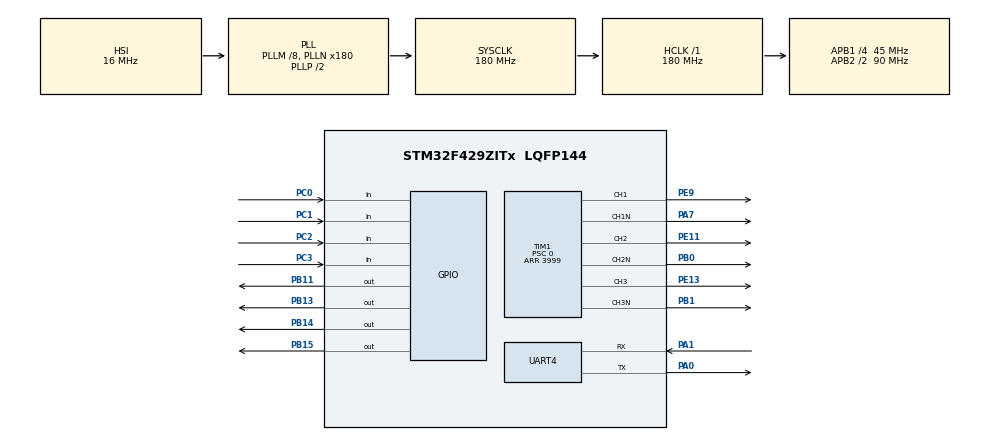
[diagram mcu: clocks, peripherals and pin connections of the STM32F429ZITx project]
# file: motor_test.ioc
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Mcu.Family=STM32F4
Mcu.Name=STM32F429ZITx
Mcu.Package=LQFP144
NVIC.PriorityGroup=NVIC_PRIORITYGROUP_4
PA0/WKUP.Mode=Asynchronous
PA0/WKUP.Signal=UART4_TX
PA1.Mode=Asynchronous
PA1.Signal=UART4_RX
PA7.GPIO_Speed=GPIO_SPEED_FREQ_VERY_HIGH
PA7.Mode=PWM Generation1 CH1 CH1N
PA7.Signal=TIM1_CH1N
PB0.GPIO_Speed=GPIO_SPEED_FREQ_VERY_HIGH
PB0.Mode=PWM Generation2 CH2 CH2N
PB0.Signal=TIM1_CH2N
PB1.GPIO_Speed=GPIO_SPEED_FREQ_VERY_HIGH
PB1.Mode=PWM Generation3 CH3 CH3N
PB1.Signal=TIM1_CH3N
PB11.Signal=GPIO_Output
PB13.Signal=GPIO_Output
PB14.Signal=GPIO_Output
PB15.Signal=GPIO_Output
PC0.Signal=GPIO_Input
PC1.Signal=GPIO_Input
PC2.Signal=GPIO_Input
PC3.GPIO_PuPd=GPIO_PULLDOWN
PC3.Signal=GPIO_Input
PE11.GPIO_Speed=GPIO_SPEED_FREQ_VERY_HIGH
PE11.Signal=S_TIM1_CH2
PE13.GPIO_Speed=GPIO_SPEED_FREQ_VERY_HIGH
PE13.Signal=S_TIM1_CH3
PE9.GPIO_Speed=GPIO_SPEED_FREQ_VERY_HIGH
PE9.Signal=S_TIM1_CH1
ProjectManager.HeapSize=0x200
ProjectManager.StackSize=0x400
ProjectManager.TargetToolchain=STM32CubeIDE
RCC.48MHZClocksFreq_Value=90000000
RCC.AHBFreq_Value=180000000
RCC.APB1CLKDivider=RCC_HCLK_DIV4
RCC.APB1Freq_Value=45000000
RCC.APB1TimFreq_Value=90000000
RCC.APB2CLKDivider=RCC_HCLK_DIV2
RCC.APB2Freq_Value=90000000
RCC.APB2TimFreq_Value=180000000
RCC.CortexFreq_Value=180000000
RCC.HCLKFreq_Value=180000000
RCC.HSE_VALUE=25000000
RCC.HSI_VALUE=16000000
RCC.LSE_VALUE=32768
RCC.PLLM=8
RCC.PLLN=180
RCC.SYSCLKFreq_VALUE=180000000
RCC.SYSCLKSource=RCC_SYSCLKSOURCE_PLLCLK
RCC.VCOOutputFreq_Value=360000000
SH.S_TIM1_CH1.0=TIM1_CH1,PWM Generation1 CH1 CH1N
SH.S_TIM1_CH2.0=TIM1_CH2,PWM Generation2 CH2 CH2N
SH.S_TIM1_CH3.0=TIM1_CH3,PWM Generation3 CH3 CH3N
TIM1.AutoReloadPreload=TIM_AUTORELOAD_PRELOAD_ENABLE
TIM1.Channel-PWM\ Generation1\ CH1\ CH1N=TIM_CHANNEL_1
TIM1.Channel-PWM\ Generation2\ CH2\ CH2N=TIM_CHANNEL_2
TIM1.Channel-PWM\ Generation3\ CH3\ CH3N=TIM_CHANNEL_3
TIM1.ClockDivision=TIM_CLOCKDIVISION_DIV1
TIM1.OCFastMode_PWM-PWM\ Generation1\ CH1\ CH1N=TIM_OCFAST_ENABLE
TIM1.OCFastMode_PWM-PWM\ Generation2\ CH2\ CH2N=TIM_OCFAST_ENABLE
TIM1.OCFastMode_PWM-PWM\ Generation3\ CH3\ CH3N=TIM_OCFAST_ENABLE
TIM1.Period=3999
TIM1.Prescaler=0
TIM1.Pulse-PWM\ Generation1\ CH1\ CH1N=399
TIM1.Pulse-PWM\ Generation2\ CH2\ CH2N=399
TIM1.Pulse-PWM\ Generation3\ CH3\ CH3N=399
TIM2.AutoReloadPreload=TIM_AUTORELOAD_PRELOAD_ENABLE
UART4.VirtualMode=Asynchronous
VP_TIM1_VS_ClockSourceINT.Mode=Internal
VP_TIM2_VS_ClockSourceINT.Mode=Internal
board=custom

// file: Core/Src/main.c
/* USER CODE BEGIN Header */
/**
 ******************************************************************************
 * @file           : main.c
 * @brief          : Main program body
 ******************************************************************************
 * @attention
 *
 * <h2><center>&copy; Copyright (c) 2021 STMicroelectronics.
 * All rights reserved.</center></h2>
 *
 * This software component is licensed by ST under BSD 3-Clause license,
 * the "License"; You may not use this file except in compliance with the
 * License. You may obtain a copy of the License at:
 *                        opensource.org/licenses/BSD-3-Clause
 *
 ******************************************************************************
 */
//
/* USER CODE END Header */
#include "main.h"
#include "motor.h"
static int SPEED = 4000;

TIM_HandleTypeDef htim1;
TIM_HandleTypeDef htim2;

UART_HandleTypeDef huart4;

void SystemClock_Config(void);
static void MX_GPIO_Init(void);
static void MX_TIM1_Init(void);
static void MX_UART4_Init(void);
static void MX_TIM2_Init(void);

int main(void) {

	/* MCU Configuration--------------------------------------------------------*/

	/* Reset of all peripherals, Initializes the Flash interface and the Systick. */
	HAL_Init();

	/* Configure the system clock */
	SystemClock_Config();

	/* Initialize all configured peripherals */
	MX_GPIO_Init();
	MX_TIM1_Init();
	MX_UART4_Init();
	MX_TIM2_Init();

	/* Infinite loop */
	/* USER CODE BEGIN WHILE */

	uint8_t state = 0;

//m oc pb14
//m pwm pb15
//o ac pb11
//en gate pb13
	HAL_GPIO_WritePin(GPIOB, GPIO_PIN_11, GPIO_PIN_SET);
	HAL_GPIO_WritePin(GPIOB, GPIO_PIN_13, GPIO_PIN_SET);
	HAL_GPIO_WritePin(GPIOB, GPIO_PIN_15, GPIO_PIN_RESET);
	HAL_GPIO_WritePin(GPIOB, GPIO_PIN_14, GPIO_PIN_RESET);

	uint8_t power = 0;
	state = GPIOC->IDR & 7;

	int yon = 0;

	char ch;
	int rpm_counter = 0;
	uint8_t ex_state = 0;
	int rpm;
	SPEED = 10000;
	float duty = 5;
	int minute_count = 0;
	while (1) {
		/* USER CODE END WHILE */
		power = motor_start_stop(power);

		state = motor_drive(ex_state, SPEED, duty);

		if (ex_state != state) {
			rpm_counter++;
			ex_state = state;
		}

		if (TIM2->CNT == 18000 - 1) {
			if (minute_count < 6)
				minute_count++;
			else {
				rpm = rpm_counter * 6 / 6;
				rpm_counter = 0;
				minute_count = 0;

				if (yon == 0) {
					duty = duty + 0.2;

					if (duty > 50) {
						yon = 1;
					}
				} else if (yon == 1) {
					duty = duty - 0.2;

					if (duty < 1.6) {
						yon = 0;
					}
				}

			}
		}
	}
}

void SystemClock_Config(void) {
	RCC_OscInitTypeDef RCC_OscInitStruct = { 0 };
	RCC_ClkInitTypeDef RCC_ClkInitStruct = { 0 };

	/** Configure the main internal regulator output voltage
	 */
	__HAL_RCC_PWR_CLK_ENABLE();
	__HAL_PWR_VOLTAGESCALING_CONFIG(PWR_REGULATOR_VOLTAGE_SCALE1);
	/** Initializes the RCC Oscillators according to the specified parameters
	 * in the RCC_OscInitTypeDef structure.
	 */
	RCC_OscInitStruct.OscillatorType = RCC_OSCILLATORTYPE_HSI;
	RCC_OscInitStruct.HSIState = RCC_HSI_ON;
	RCC_OscInitStruct.HSICalibrationValue = RCC_HSICALIBRATION_DEFAULT;
	RCC_OscInitStruct.PLL.PLLState = RCC_PLL_ON;
	RCC_OscInitStruct.PLL.PLLSource = RCC_PLLSOURCE_HSI;
	RCC_OscInitStruct.PLL.PLLM = 8;
	RCC_OscInitStruct.PLL.PLLN = 180;
	RCC_OscInitStruct.PLL.PLLP = RCC_PLLP_DIV2;
	RCC_OscInitStruct.PLL.PLLQ = 4;
	if (HAL_RCC_OscConfig(&RCC_OscInitStruct) != HAL_OK) {
		Error_Handler();
	}
	/** Activate the Over-Drive mode
	 */
	if (HAL_PWREx_EnableOverDrive() != HAL_OK) {
		Error_Handler();
	}
	/** Initializes the CPU, AHB and APB buses clocks
	 */
	RCC_ClkInitStruct.ClockType = RCC_CLOCKTYPE_HCLK | RCC_CLOCKTYPE_SYSCLK
			| RCC_CLOCKTYPE_PCLK1 | RCC_CLOCKTYPE_PCLK2;
	RCC_ClkInitStruct.SYSCLKSource = RCC_SYSCLKSOURCE_PLLCLK;
	RCC_ClkInitStruct.AHBCLKDivider = RCC_SYSCLK_DIV1;
	RCC_ClkInitStruct.APB1CLKDivider = RCC_HCLK_DIV4;
	RCC_ClkInitStruct.APB2CLKDivider = RCC_HCLK_DIV2;

	if (HAL_RCC_ClockConfig(&RCC_ClkInitStruct, FLASH_LATENCY_5) != HAL_OK) {
		Error_Handler();
	}
}

static void MX_TIM1_Init(void) {

	TIM_ClockConfigTypeDef sClockSourceConfig = { 0 };
	TIM_MasterConfigTypeDef sMasterConfig = { 0 };
	TIM_OC_InitTypeDef sConfigOC = { 0 };
	TIM_BreakDeadTimeConfigTypeDef sBreakDeadTimeConfig = { 0 };

	htim1.Instance = TIM1;
	htim1.Init.Prescaler = 0;
	htim1.Init.CounterMode = TIM_COUNTERMODE_UP;
	htim1.Init.Period = 3999;
	htim1.Init.ClockDivision = TIM_CLOCKDIVISION_DIV1;
	htim1.Init.RepetitionCounter = 0;
	htim1.Init.AutoReloadPreload = TIM_AUTORELOAD_PRELOAD_ENABLE;
	if (HAL_TIM_Base_Init(&htim1) != HAL_OK) {
		Error_Handler();
	}
	sClockSourceConfig.ClockSource = TIM_CLOCKSOURCE_INTERNAL;
	if (HAL_TIM_ConfigClockSource(&htim1, &sClockSourceConfig) != HAL_OK) {
		Error_Handler();
	}
	if (HAL_TIM_PWM_Init(&htim1) != HAL_OK) {
		Error_Handler();
	}
	sMasterConfig.MasterOutputTrigger = TIM_TRGO_RESET;
	sMasterConfig.MasterSlaveMode = TIM_MASTERSLAVEMODE_DISABLE;
	if (HAL_TIMEx_MasterConfigSynchronization(&htim1, &sMasterConfig)
			!= HAL_OK) {
		Error_Handler();
	}
	sConfigOC.OCMode = TIM_OCMODE_PWM1;
	sConfigOC.Pulse = 399;
	sConfigOC.OCPolarity = TIM_OCPOLARITY_HIGH;
	sConfigOC.OCNPolarity = TIM_OCNPOLARITY_HIGH;
	sConfigOC.OCFastMode = TIM_OCFAST_ENABLE;
	sConfigOC.OCIdleState = TIM_OCIDLESTATE_RESET;
	sConfigOC.OCNIdleState = TIM_OCNIDLESTATE_RESET;
	if (HAL_TIM_PWM_ConfigChannel(&htim1, &sConfigOC, TIM_CHANNEL_1)
			!= HAL_OK) {
		Error_Handler();
	}
	if (HAL_TIM_PWM_ConfigChannel(&htim1, &sConfigOC, TIM_CHANNEL_2)
			!= HAL_OK) {
		Error_Handler();
	}
	if (HAL_TIM_PWM_ConfigChannel(&htim1, &sConfigOC, TIM_CHANNEL_3)
			!= HAL_OK) {
		Error_Handler();
	}
	sBreakDeadTimeConfig.OffStateRunMode = TIM_OSSR_DISABLE;
	sBreakDeadTimeConfig.OffStateIDLEMode = TIM_OSSI_DISABLE;
	sBreakDeadTimeConfig.LockLevel = TIM_LOCKLEVEL_OFF;
	sBreakDeadTimeConfig.DeadTime = 0;
	sBreakDeadTimeConfig.BreakState = TIM_BREAK_DISABLE;
	sBreakDeadTimeConfig.BreakPolarity = TIM_BREAKPOLARITY_HIGH;
	sBreakDeadTimeConfig.AutomaticOutput = TIM_AUTOMATICOUTPUT_DISABLE;
	if (HAL_TIMEx_ConfigBreakDeadTime(&htim1, &sBreakDeadTimeConfig)
			!= HAL_OK) {
		Error_Handler();
	}
	HAL_TIM_MspPostInit(&htim1);

}

static void MX_TIM2_Init(void) {

	TIM_ClockConfigTypeDef sClockSourceConfig = { 0 };
	TIM_MasterConfigTypeDef sMasterConfig = { 0 };

	htim2.Instance = TIM2;
	htim2.Init.Prescaler = 0;
	htim2.Init.CounterMode = TIM_COUNTERMODE_UP;
	htim2.Init.Period = 18000;
	htim2.Init.ClockDivision = TIM_CLOCKDIVISION_DIV1;
	htim2.Init.AutoReloadPreload = TIM_AUTORELOAD_PRELOAD_ENABLE;
	if (HAL_TIM_Base_Init(&htim2) != HAL_OK) {
		Error_Handler();
	}
	sClockSourceConfig.ClockSource = TIM_CLOCKSOURCE_INTERNAL;
	if (HAL_TIM_ConfigClockSource(&htim2, &sClockSourceConfig) != HAL_OK) {
		Error_Handler();
	}
	sMasterConfig.MasterOutputTrigger = TIM_TRGO_RESET;
	sMasterConfig.MasterSlaveMode = TIM_MASTERSLAVEMODE_DISABLE;
	if (HAL_TIMEx_MasterConfigSynchronization(&htim2, &sMasterConfig)
			!= HAL_OK) {
		Error_Handler();
	}
	HAL_TIM_Base_Start(&htim2);

}

static void MX_UART4_Init(void) {

	/* USER CODE BEGIN UART4_Init 1 */
	__HAL_RCC_GPIOA_CLK_ENABLE(); /* Enable clock to PORTA - UART2 pins PA2 and PA3 */
	__HAL_RCC_UART4_CLK_ENABLE(); /* Enable clock to UART2 module */

	GPIO_InitTypeDef UART4_GPIO_Handler; /*Create GPIO_InitTypeDef struct instance */
	UART4_GPIO_Handler.Pin = GPIO_PIN_0 | GPIO_PIN_1;
	UART4_GPIO_Handler.Mode = GPIO_MODE_AF_PP;
	UART4_GPIO_Handler.Pull = GPIO_PULLUP;
	UART4_GPIO_Handler.Speed = GPIO_SPEED_FREQ_VERY_HIGH;
	UART4_GPIO_Handler.Alternate = GPIO_AF8_UART4;
	HAL_GPIO_Init(GPIOA, &UART4_GPIO_Handler);
	/* USER CODE END UART4_Init 1 */
	huart4.Instance = UART4;
	huart4.Init.BaudRate = 115200;
	huart4.Init.WordLength = UART_WORDLENGTH_8B;
	huart4.Init.StopBits = UART_STOPBITS_1;
	huart4.Init.Parity = UART_PARITY_NONE;
	huart4.Init.Mode = UART_MODE_TX_RX;
	huart4.Init.HwFlowCtl = UART_HWCONTROL_NONE;
	huart4.Init.OverSampling = UART_OVERSAMPLING_16;
	if (HAL_UART_Init(&huart4) != HAL_OK) {
		Error_Handler();
	}

}

static void MX_GPIO_Init(void) {
	GPIO_InitTypeDef GPIO_InitStruct = { 0 };

	/* GPIO Ports Clock Enable */
	__HAL_RCC_GPIOC_CLK_ENABLE();
	__HAL_RCC_GPIOA_CLK_ENABLE();
	__HAL_RCC_GPIOB_CLK_ENABLE();
	__HAL_RCC_GPIOE_CLK_ENABLE();

	/*Configure GPIO pin Output Level */
	HAL_GPIO_WritePin(GPIOB,
	GPIO_PIN_11 | GPIO_PIN_13 | GPIO_PIN_14 | GPIO_PIN_15, GPIO_PIN_RESET);

	/*Configure GPIO pins : PC0 PC1 PC2 */
	GPIO_InitStruct.Pin = GPIO_PIN_0 | GPIO_PIN_1 | GPIO_PIN_2;
	GPIO_InitStruct.Mode = GPIO_MODE_INPUT;
	GPIO_InitStruct.Pull = GPIO_NOPULL;
	HAL_GPIO_Init(GPIOC, &GPIO_InitStruct);

	/*Configure GPIO pin : PC3 */
	GPIO_InitStruct.Pin = GPIO_PIN_3;
	GPIO_InitStruct.Mode = GPIO_MODE_INPUT;
	GPIO_InitStruct.Pull = GPIO_PULLDOWN;
	HAL_GPIO_Init(GPIOC, &GPIO_InitStruct);

	/*Configure GPIO pins : PB11 PB13 PB14 PB15 */
	GPIO_InitStruct.Pin = GPIO_PIN_11 | GPIO_PIN_13 | GPIO_PIN_14 | GPIO_PIN_15;
	GPIO_InitStruct.Mode = GPIO_MODE_OUTPUT_PP;
	GPIO_InitStruct.Pull = GPIO_NOPULL;
	GPIO_InitStruct.Speed = GPIO_SPEED_FREQ_LOW;
	HAL_GPIO_Init(GPIOB, &GPIO_InitStruct);

}

void Error_Handler(void) {
	__disable_irq();
	while (1) {
	}
}

/************************ (C) COPYRIGHT STMicroelectronics *****END OF FILE****/
